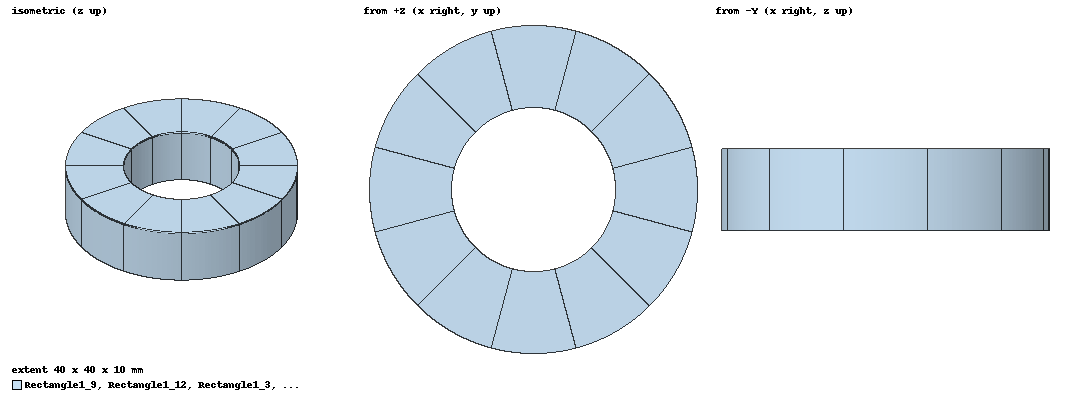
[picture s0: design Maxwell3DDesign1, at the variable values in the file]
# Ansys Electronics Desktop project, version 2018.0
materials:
  vacuum: permittivity=1
  NdFe30: permittivity=1 permeability=1.044573 conductivity=625000 magnetic_coercivity{Magnitude=-838000A_per_meter DirComp1=1 DirComp2=0 DirComp3=0} lande_g_factor=2

design Maxwell2DDesign1 (Maxwell 2D, Magnetostatic, about Z geometry, model units mm)
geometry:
  Rectangle1 [vacuum] = rectangle(corner=(10mm, 0mm, 0mm), z_size=10mm, x_size=10mm)
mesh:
  initial mesh: MeshMethod=AnsoftTAU

design Maxwell3DDesign1 (Maxwell 3D, Magnetostatic, model units mm)
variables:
  SweepAngle = 15deg
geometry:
  Rectangle1 [vacuum] = rectangle(corner=(10mm, 0mm, 0mm), z_size=10mm, x_size=10mm)
  Rectangle1.sweep_around_axis(axis=Z, angle=SweepAngle)
  Rectangle1_1 = Rectangle1.duplicate_mirror(point=(20mm, 0mm, 0mm), normal=(0mm, -1mm, 0mm))
  Rectangle1.unite(Rectangle1_1)
  Rectangle1_2..Rectangle1_12 [vacuum] = Rectangle1.duplicate_around_axis(axis=Z, angle=30deg, total=12)
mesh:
  initial mesh: GlobalCurvilinear{Apply}

design Maxwell2DDesign2 (Maxwell 2D, Magnetostatic, XY geometry, model units mm)
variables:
  SweepAngle = 15deg
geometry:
  Rectangle1#6 = rectangle(corner=(10mm, 0mm, 0mm), z_size=10mm, x_size=10mm)
  Rectangle1#6.sweep_around_axis(axis=Z, angle=SweepAngle)
  Rectangle1_1 = Rectangle1#6.duplicate_mirror(point=(20mm, 0mm, 0mm), normal=(0mm, -1mm, 0mm))
  Rectangle1#6.unite(Rectangle1_1)
  Rectangle1_2#67, Rectangle1_3#95, Rectangle1_4#123, Rectangle1_5#151, Rectangle1_6#179, Rectangle1_7#207, Rectangle1_8#235, Rectangle1_9#263, Rectangle1_10#291, Rectangle1_11#319, Rectangle1_12#347 = Rectangle1#6.duplicate_around_axis(axis=Z, angle=30deg, total=12)
  Rectangle1 [NdFe30, oriented by RelativeCS1] = Rectangle1#6.section(plane=XY)
  Rectangle1#6.delete()
  coordinate_system RelativeCS1 = origin=(0mm, 0mm, 0mm) x=(15.37847mm, 0mm, 0mm) y=(0mm, 15.37847mm, 0mm)
  Rectangle1_2 [NdFe30, oriented by RelativeCS2] = Rectangle1_2#67.section(plane=XY)
  Rectangle1_2#67.delete()
  coordinate_system RelativeCS2 = origin=(0mm, 0mm, 0mm) x=(13.318146mm, 7.689235mm, 0mm) y=(-7.689235mm, 13.318146mm, 0mm) in RelativeCS1
  Rectangle1_3 [NdFe30, oriented by RelativeCS3] = Rectangle1_3#95.section(plane=XY)
  Rectangle1_3#95.delete()
  coordinate_system RelativeCS3 = origin=(0mm, 0mm, 0mm) x=(14mm, 8mm, 0mm) y=(-8mm, 14mm, 0mm) in RelativeCS2
  Rectangle1_4 [NdFe30, oriented by RelativeCS4] = Rectangle1_4#123.section(plane=XY)
  Rectangle1_4#123.delete()
  coordinate_system RelativeCS4 = origin=(0mm, 0mm, 0mm) x=(13.283776mm, 7.7484598mm, 0mm) y=(-7.7484598mm, 13.283776mm, 0mm) in RelativeCS3
  Rectangle1_5 [NdFe30, oriented by RelativeCS5] = Rectangle1_5#151.section(plane=XY)
  Rectangle1_5#151.delete()
  coordinate_system RelativeCS5 = origin=(0mm, 0mm, 0mm) x=(13.318146mm, 7.689235mm, 0mm) y=(-7.689235mm, 13.318146mm, 0mm) in RelativeCS4
  Rectangle1_6 [NdFe30, oriented by RelativeCS6] = Rectangle1_6#179.section(plane=XY)
  Rectangle1_6#179.delete()
  coordinate_system RelativeCS6 = origin=(0mm, 0mm, 0mm) x=(13.318146mm, 7.689235mm, 0mm) y=(-7.689235mm, 13.318146mm, 0mm) in RelativeCS5
  Rectangle1_7 [NdFe30, oriented by RelativeCS7] = Rectangle1_7#207.section(plane=XY)
  Rectangle1_7#207.delete()
  coordinate_system RelativeCS7 = origin=(0mm, 0mm, 0mm) x=(13.318146mm, 7.689235mm, 0mm) y=(-7.689235mm, 13.318146mm, 0mm) in RelativeCS6
  Rectangle1_8 [NdFe30, oriented by RelativeCS8] = Rectangle1_8#235.section(plane=XY)
  Rectangle1_8#235.delete()
  coordinate_system RelativeCS8 = origin=(0mm, 0mm, 0mm) x=(13.318146mm, 7.689235mm, 0mm) y=(-7.689235mm, 13.318146mm, 0mm) in RelativeCS7
  Rectangle1_9 [NdFe30, oriented by RelativeCS9] = Rectangle1_9#263.section(plane=XY)
  Rectangle1_9#263.delete()
  coordinate_system RelativeCS9 = origin=(0mm, 0mm, 0mm) x=(13.318146mm, 7.689235mm, 0mm) y=(-7.689235mm, 13.318146mm, 0mm) in RelativeCS8
  Rectangle1_10 [NdFe30, oriented by RelativeCS10] = Rectangle1_10#291.section(plane=XY)
  Rectangle1_10#291.delete()
  coordinate_system RelativeCS10 = origin=(0mm, 0mm, 0mm) x=(13.318146mm, 7.689235mm, 0mm) y=(-7.689235mm, 13.318146mm, 0mm) in RelativeCS9
  Rectangle1_11 [NdFe30, oriented by RelativeCS11] = Rectangle1_11#319.section(plane=XY)
  Rectangle1_11#319.delete()
  coordinate_system RelativeCS11 = origin=(0mm, 0mm, 0mm) x=(13.318146mm, 7.689235mm, 0mm) y=(-7.689235mm, 13.318146mm, 0mm) in RelativeCS10
  Rectangle1_12 [NdFe30, oriented by RelativeCS12] = Rectangle1_12#347.section(plane=XY)
  Rectangle1_12#347.delete()
  coordinate_system RelativeCS12 = origin=(0mm, 0mm, 0mm) x=(13.318146mm, 7.689235mm, 0mm) y=(-7.689235mm, 13.318146mm, 0mm) in RelativeCS11
  Rectangle2 [vacuum] = rectangle(corner=(-50mm, -50mm, 0mm), x_size=100mm, y_size=100mm) in RelativeCS1
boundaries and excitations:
  Fronteir: Balloon Edges=Rectangle2.edge(all 4)
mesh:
  initial mesh: MeshMethod=AnsoftTAU
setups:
  Setup1: Magnetostatic MaximumPasses=10 MinimumPasses=2 MinimumConvergedPasses=1 PercentRefinement=30 PercentError=1 NonLinearResidual=0.0001
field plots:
  Flux_Lines1: A over Rectangle1, Rectangle1_2..Rectangle1_12, Rectangle2 on Setup1 : LastAdaptive

design Maxwell3DDesign2 (Maxwell 3D, Magnetostatic, model units mm)
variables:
  SweepAngle = 15deg
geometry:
  Rectangle3 = rectangle(corner=(10mm, 0mm, 0mm), z_size=10mm, x_size=10mm)
  Rectangle3.sweep_around_axis(axis=Z, angle=SweepAngle)
  Rectangle1_1 = Rectangle3.duplicate_mirror(point=(20mm, 0mm, 0mm), normal=(0mm, -1mm, 0mm))
  Rectangle3.unite(Rectangle1_1)
  Rectangle1_13..Rectangle1_23 = Rectangle3.duplicate_around_axis(axis=Z, angle=30deg, total=12)
  Rectangle1 [NdFe30, oriented by RelativeCS1] = Rectangle3.section(plane=XY)
  Rectangle3.delete()
  coordinate_system RelativeCS1 = origin=(0mm, 0mm, 0mm) x=(15.37847mm, 0mm, 0mm) y=(0mm, 15.37847mm, 0mm)
  Rectangle1_2 [NdFe30, oriented by RelativeCS2] = Rectangle1_13.section(plane=XY)
  Rectangle1_13.delete()
  coordinate_system RelativeCS2 = origin=(0mm, 0mm, 0mm) x=(13.318146mm, 7.689235mm, 0mm) y=(-7.689235mm, 13.318146mm, 0mm) in RelativeCS1
  Rectangle1_3 [NdFe30, oriented by RelativeCS3] = Rectangle1_14.section(plane=XY)
  Rectangle1_14.delete()
  coordinate_system RelativeCS3 = origin=(0mm, 0mm, 0mm) x=(14mm, 8mm, 0mm) y=(-8mm, 14mm, 0mm) in RelativeCS2
  Rectangle1_4 [NdFe30, oriented by RelativeCS4] = Rectangle1_15.section(plane=XY)
  Rectangle1_15.delete()
  coordinate_system RelativeCS4 = origin=(0mm, 0mm, 0mm) x=(13.283776mm, 7.7484598mm, 0mm) y=(-7.7484598mm, 13.283776mm, 0mm) in RelativeCS3
  Rectangle1_5 [NdFe30, oriented by RelativeCS5] = Rectangle1_16.section(plane=XY)
  Rectangle1_16.delete()
  coordinate_system RelativeCS5 = origin=(0mm, 0mm, 0mm) x=(13.318146mm, 7.689235mm, 0mm) y=(-7.689235mm, 13.318146mm, 0mm) in RelativeCS4
  Rectangle1_6 [NdFe30, oriented by RelativeCS6] = Rectangle1_17.section(plane=XY)
  Rectangle1_17.delete()
  coordinate_system RelativeCS6 = origin=(0mm, 0mm, 0mm) x=(13.318146mm, 7.689235mm, 0mm) y=(-7.689235mm, 13.318146mm, 0mm) in RelativeCS5
  Rectangle1_7 [NdFe30, oriented by RelativeCS7] = Rectangle1_18.section(plane=XY)
  Rectangle1_18.delete()
  coordinate_system RelativeCS7 = origin=(0mm, 0mm, 0mm) x=(13.318146mm, 7.689235mm, 0mm) y=(-7.689235mm, 13.318146mm, 0mm) in RelativeCS6
  Rectangle1_8 [NdFe30, oriented by RelativeCS8] = Rectangle1_19.section(plane=XY)
  Rectangle1_19.delete()
  coordinate_system RelativeCS8 = origin=(0mm, 0mm, 0mm) x=(13.318146mm, 7.689235mm, 0mm) y=(-7.689235mm, 13.318146mm, 0mm) in RelativeCS7
  Rectangle1_9 [NdFe30, oriented by RelativeCS9] = Rectangle1_20.section(plane=XY)
  Rectangle1_20.delete()
  coordinate_system RelativeCS9 = origin=(0mm, 0mm, 0mm) x=(13.318146mm, 7.689235mm, 0mm) y=(-7.689235mm, 13.318146mm, 0mm) in RelativeCS8
  Rectangle1_10 [NdFe30, oriented by RelativeCS10] = Rectangle1_21.section(plane=XY)
  Rectangle1_21.delete()
  coordinate_system RelativeCS10 = origin=(0mm, 0mm, 0mm) x=(13.318146mm, 7.689235mm, 0mm) y=(-7.689235mm, 13.318146mm, 0mm) in RelativeCS9
  Rectangle1_11 [NdFe30, oriented by RelativeCS11] = Rectangle1_22.section(plane=XY)
  Rectangle1_22.delete()
  coordinate_system RelativeCS11 = origin=(0mm, 0mm, 0mm) x=(13.318146mm, 7.689235mm, 0mm) y=(-7.689235mm, 13.318146mm, 0mm) in RelativeCS10
  Rectangle1_12 [NdFe30, oriented by RelativeCS12] = Rectangle1_23.section(plane=XY)
  Rectangle1_23.delete()
  coordinate_system RelativeCS12 = origin=(0mm, 0mm, 0mm) x=(13.318146mm, 7.689235mm, 0mm) y=(-7.689235mm, 13.318146mm, 0mm) in RelativeCS11
  Rectangle2 [vacuum] = rectangle(corner=(-50mm, -50mm, 0mm), x_size=100mm, y_size=100mm) in RelativeCS1
  [Rectangle1, Rectangle1_2..Rectangle1_12, Rectangle2].sweep_along_vector((0meter, 0meter, 10mm))
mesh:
  initial mesh: GlobalCurvilinear{Apply}
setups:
  Setup1: Magnetostatic MaximumPasses=10 MinimumPasses=2 MinimumConvergedPasses=1 PercentRefinement=30 PercentError=1 NonLinearResidual=0.001
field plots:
  B_Vector1, Mag_B1: B in Rectangle1, Rectangle1_2..Rectangle1_12, Rectangle2 on Setup1 : LastAdaptive
  Mag_B2, B_Vector2: B over a plane on Setup1 : LastAdaptive
